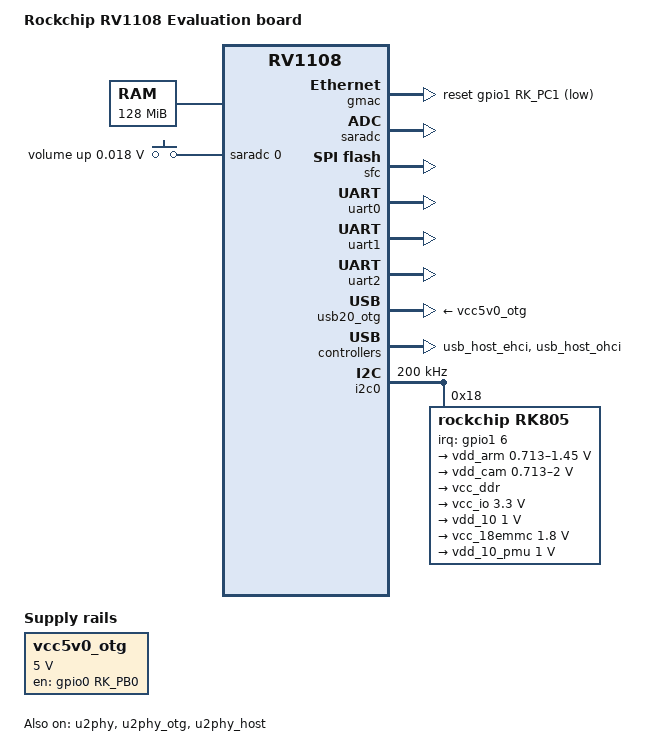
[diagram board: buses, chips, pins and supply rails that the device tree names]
/*
 * (C) Copyright 2016 Rockchip Electronics Co., Ltd
 *
 * SPDX-License-Identifier:     GPL-2.0+
 */

/dts-v1/;

#include "rv1108.dtsi"
#include "rv1108-sdram-ddr3-400.dtsi"
#include <dt-bindings/input/input.h>

/ {
	model = "Rockchip RV1108 Evaluation board";
	compatible = "rockchip,rv1108-evb", "rockchip,rv1108";

	memory@60000000 {
		device_type = "memory";
		reg = <0x60000000 0x08000000>;
	};

	chosen {
		stdout-path = "serial2:1500000n8";
	};

	adc-keys {
		compatible = "adc-keys";
		io-channels = <&saradc 0>;
		volup-key {
			linux,code = <KEY_VOLUMEUP>;
			label = "volume up";
			press-threshold-microvolt = <18000>;
		};
	};


	vcc5v0_otg: vcc5v0-otg-drv {
		compatible = "regulator-fixed";
		enable-active-high;
		regulator-name = "vcc5v0_otg";
		gpio = <&gpio0 RK_PB0 GPIO_ACTIVE_HIGH>;
		regulator-min-microvolt = <5000000>;
		regulator-max-microvolt = <5000000>;
	};
};

&gmac {
	status = "okay";
	clock_in_out = <0>;
	snps,reset-active-low;
	snps,reset-delays-us = <0 10000 1000000>;
	snps,reset-gpio = <&gpio1 RK_PC1 GPIO_ACTIVE_LOW>;
};

&saradc {
	status = "okay";
};

&sfc {
	compatible = "rockchip,rksfc";
	status = "okay";
};

&u2phy {
	status = "okay";
};

&u2phy_otg {
	status = "okay";
};

&u2phy_host {
	status = "okay";
};

&uart0 {
	status = "okay";
};

&uart1 {
	status = "okay";
};

&uart2 {
	status = "okay";
};

&usb20_otg {
	vbus-supply = <&vcc5v0_otg>;
	status = "okay";
};

&usb_host_ehci {
	status = "okay";
};

&usb_host_ohci {
	status = "okay";
};

&i2c0 {
	i2c-scl-rising-time-ns = <275>;
	i2c-scl-falling-time-ns = <16>;
	clock-frequency = <200000>;
	nack-retry = <1>;
	status = "okay";

	rk805: pmic@18 {
		compatible = "rockchip,rk805";
		status = "okay";
		reg = <0x18>;
		interrupt-parent = <&gpio1>;
		interrupts = <6 IRQ_TYPE_LEVEL_LOW>;
		pinctrl-names = "default";
		pinctrl-0 = <&pmic_int_l>;
		rockchip,system-power-controller;
		wakeup-source;
		gpio-controller;
		#gpio-cells = <2>;
		#clock-cells = <1>;
		clock-output-names = "xin32k", "rk805-clkout2";

		pwrkey {
			status = "okay";
		};

		regulators {
			vdd_arm: DCDC_REG1 {
				regulator-name = "vdd_arm";
				regulator-min-microvolt = <712500>;
				regulator-max-microvolt = <1450000>;
				regulator-ramp-delay = <6001>;
				regulator-boot-on;
				regulator-always-on;
				regulator-state-mem {
					regulator-on-in-suspend;
					regulator-suspend-microvolt = <1000000>;
				};
			};

			vdd_cam: DCDC_REG2 {
				regulator-name = "vdd_cam";
				regulator-min-microvolt = <712500>;
				regulator-max-microvolt = <2000000>;
				regulator-ramp-delay = <6001>;
				regulator-boot-on;
				regulator-always-on;
				regulator-state-mem {
					regulator-on-in-suspend;
					regulator-suspend-microvolt = <2000000>;
				};
			};

			vcc_ddr: DCDC_REG3 {
				regulator-name = "vcc_ddr";
				regulator-boot-on;
				regulator-always-on;
				regulator-state-mem {
					regulator-on-in-suspend;
				};
			};

			vcc_io: DCDC_REG4 {
				regulator-name = "vcc_io";
				regulator-min-microvolt = <3300000>;
				regulator-max-microvolt = <3300000>;
				regulator-boot-on;
				regulator-always-on;
				regulator-state-mem {
					regulator-on-in-suspend;
					regulator-suspend-microvolt = <3300000>;
				};
			};

			vdd_10: LDO_REG1 {
				regulator-name = "vdd_10";
				regulator-min-microvolt = <1000000>;
				regulator-max-microvolt = <1000000>;
				regulator-boot-on;
				regulator-always-on;
				regulator-state-mem {
					regulator-on-in-suspend;
					regulator-suspend-microvolt = <1000000>;
				};
			};

			vcc_18emmc: LDO_REG2 {
				regulator-name = "vcc_18emmc";
				regulator-min-microvolt = <1800000>;
				regulator-max-microvolt = <1800000>;
				regulator-boot-on;
				regulator-always-on;
				regulator-state-mem {
					regulator-on-in-suspend;
					regulator-suspend-microvolt = <1800000>;
				};
			};

			vdd_10_pmu: LDO_REG3 {
				regulator-name = "vdd_10_pmu";
				regulator-min-microvolt = <1000000>;
				regulator-max-microvolt = <1000000>;
				regulator-boot-on;
				regulator-always-on;
				regulator-state-mem {
					regulator-on-in-suspend;
					regulator-suspend-microvolt = <1000000>;
				};
			};
		};
	};
};

&pinctrl {
	pmic {
		pmic_int_l: pmic-int-l {
		rockchip,pins =
			<0 RK_PB4 RK_FUNC_GPIO &pcfg_pull_up>;
		};
	};
};
